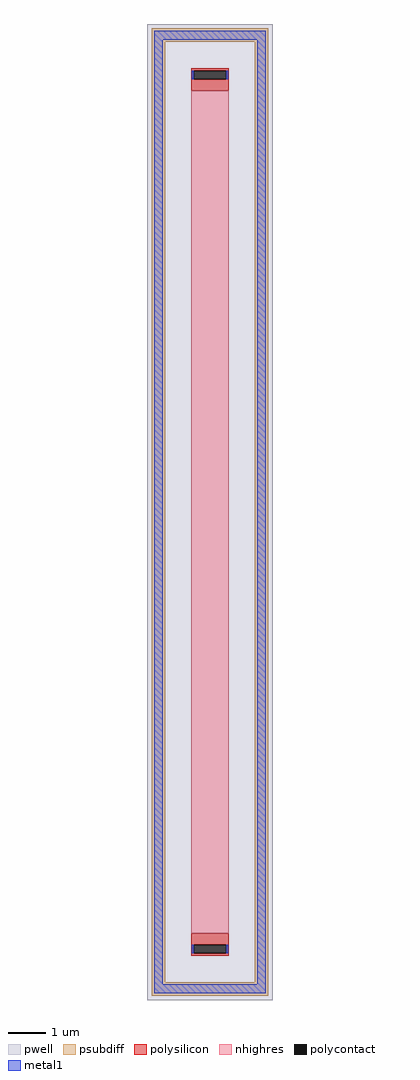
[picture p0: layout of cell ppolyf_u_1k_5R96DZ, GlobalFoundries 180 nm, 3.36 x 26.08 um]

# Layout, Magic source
magic
tech gf180mcuD
magscale 1 10
<< pwell >>
rect -336 -2608 336 2608
<< psubdiff >>
rect -312 2512 312 2584
rect -312 -2512 -240 2512
rect 240 -2512 312 2512
rect -312 -2584 312 -2512
<< polysilicon >>
rect -100 2359 100 2372
rect -100 2313 -87 2359
rect 87 2313 100 2359
rect -100 2250 100 2313
rect -100 -2313 100 -2250
rect -100 -2359 -87 -2313
rect 87 -2359 100 -2313
rect -100 -2372 100 -2359
<< polycontact >>
rect -87 2313 87 2359
rect -87 -2359 87 -2313
<< nhighres >>
rect -100 -2250 100 2250
<< metal1 >>
rect -299 2525 299 2571
rect -299 -2525 -253 2525
rect -98 2313 -87 2359
rect 87 2313 98 2359
rect -98 -2359 -87 -2313
rect 87 -2359 98 -2313
rect 253 -2525 299 2525
rect -299 -2571 299 -2525
<< properties >>
string FIXED_BBOX -276 -2548 276 2548
string gencell ppolyf_u_1k
string library gf180mcu
string parameters w 1.0 l 22.5 m 1 nx 1 wmin 1.000 lmin 1.000 class resistor rho 1000 val 23.186k dummy 0 dw 0.0296 term 0.0 sterm 0.0 caplen 0.4 snake 0 glc 1 grc 1 gtc 0 gbc 0 roverlap 0 endcov 100 full_metal 1 guard 1 guard_type pwell compatible {ppolyf_u_1k ppolyf_u_1k_6p0}
<< end >>
